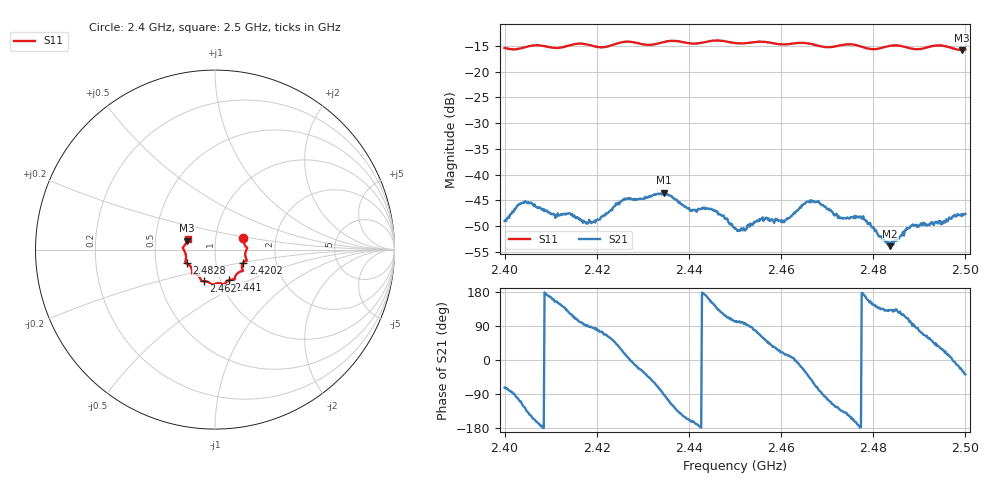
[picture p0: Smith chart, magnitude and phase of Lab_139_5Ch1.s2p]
# Hz S RI R 50
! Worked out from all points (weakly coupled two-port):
!   601 points, 2.4 GHz to 2.5 GHz, reference 50 ohm
!   highest |S21| = -43.53 dB at 2.4345 GHz (marker M1); lowest = -53.9 dB at 2.4837 GHz (marker M2)
!   lowest |S11| = -15.8 dB at 2.4992 GHz (marker M3), VSWR 1.39, Z = 36.4 + j3.72 ohm
!   |S11| at or under -10 dB: start of sweep to end of sweep
!   S12 and S22 are empty: the file has one direction only
!   S11 on the Smith chart (normalised r, x): 2.4 GHz: 1.36, +0.17; 2.4202 GHz: 1.36, -0.20; 2.441 GHz: 1.10, -0.39; 2.462 GHz: 0.84, -0.30; 2.4828 GHz: 0.72, -0.11; 2.5 GHz: 0.73, +0.09
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2.4e9  0.1582 0.062  0.00104 -0.0034  0 0  0 0
2.403167e9  0.1651 0.0263  -0.00151 -0.00498  0 0  0 0
2.404667e9  0.1731 0.0158  -0.00364 -0.00396  0 0  0 0
2.416667e9  0.1769 -0.0606  -0.000549 0.00359  0 0  0 0
2.420167e9  0.158 -0.0719  0.000626 0.00361  0 0  0 0
2.426e9  0.1557 -0.1172  0.00559 0.00172  0 0  0 0
2.433333e9  0.1118 -0.151  0.00207 -0.00621  0 0  0 0
2.4345e9  0.11 -0.16  -8.44e-05 -0.00666  0 0  0 0
2.441e9  0.078 -0.1702  -0.00433 -0.00138  0 0  0 0
2.445167e9  0.0519 -0.1931  -0.00395 0.00234  0 0  0 0
2.45e9  0.0279 -0.1876  -0.000628 0.00291  0 0  0 0
2.462e9  -0.0607 -0.1759  0.00382 0.000573  0 0  0 0
2.466667e9  -0.0789 -0.1676  0.00329 -0.00451  0 0  0 0
2.472833e9  -0.1195 -0.135  -0.00249 -0.00282  0 0  0 0
2.4775e9  -0.1272 -0.1195  -0.00373 0.000199  0 0  0 0
2.482833e9  -0.1573 -0.0767  -0.00145 0.00165  0 0  0 0
2.483333e9  -0.1603 -0.0754  -0.00143 0.00159  0 0  0 0
2.483667e9  -0.162 -0.0746  -0.00134 0.00151  0 0  0 0
2.488667e9  -0.1613 -0.0406  -0.000305 0.00327  0 0  0 0
2.494333e9  -0.1797 0.00995  0.00292 0.00203  0 0  0 0
2.499167e9  -0.1547 0.0497  0.00358 -0.00166  0 0  0 0
2.5e9  -0.1525 0.0615  0.00327 -0.00256  0 0  0 0
